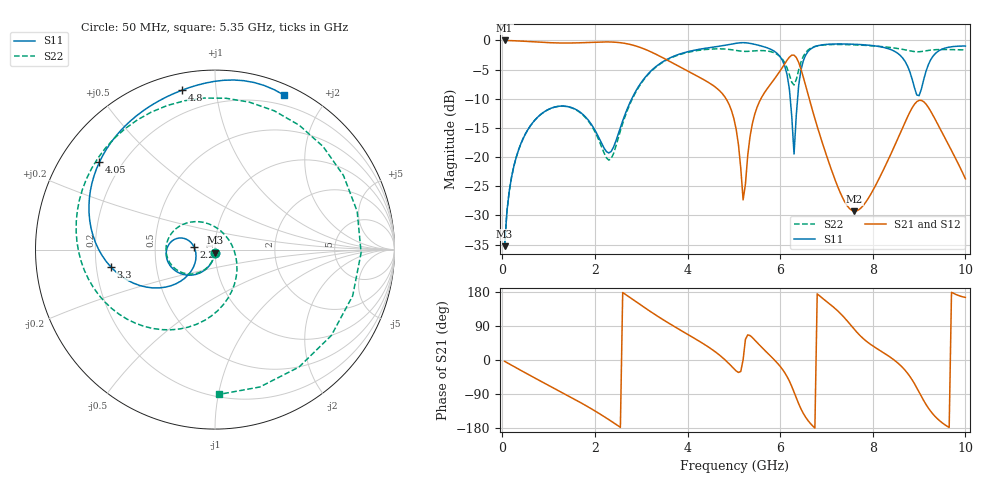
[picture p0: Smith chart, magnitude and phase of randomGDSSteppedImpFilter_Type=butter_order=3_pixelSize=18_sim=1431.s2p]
! freq	dB(S11)	phase(S11)	dB(S12)	phase(S12)
!  dB(S21)	phase(S21)	dB(S22)	phase(S22)
!S-par simulation data
#  GHz  S  DB  R 50
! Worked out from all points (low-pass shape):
!   200 points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, 50 MHz to 10 GHz, reference 50 ohm
!   highest |S21| = -0.01 dB at 50 MHz (marker M1); lowest = -29.3 dB at 7.6 GHz (marker M2)
!   |S21| within 3 dB of the highest: start of sweep to 3.475 GHz; 6.186 GHz to 6.354 GHz (168 MHz wide, 2.68 % of centre)
!   lowest |S11| = -35.3 dB at 50 MHz (marker M3), VSWR 1.04, Z = 49.9 - j1.72 ohm
!   |S11| at or under -10 dB: start of sweep to 2.796 GHz; 6.218 GHz to 6.377 GHz (159.1 MHz wide, 2.53 % of centre)
!   |S22| runs from -35.3 to -0.7 dB; largest |S21 - S12| = 0
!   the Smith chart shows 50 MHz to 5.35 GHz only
!   S11 on the Smith chart (normalised r, x): 50 MHz: 1.00, -0.03; 2.2 GHz: 0.79, +0.03; 3.3 GHz: 0.26, -0.08; 4.05 GHz: 0.12, +0.33; 4.8 GHz: 0.08, +0.81; 5.35 GHz: 0.10, +1.53
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0.05  -35.28 -92.6  -0.01 -3.5  -0.01 -3.5  -35.28 -92.8
0.55  -15.34 -126.8  -0.18 -37.4  -0.18 -37.4  -15.34 -128.8
1.75  -12.76 165.3  -0.39 -116.5  -0.39 -116.5  -12.85 142.1
2.2  -18.50 171.9  -0.26 -149.4  -0.26 -149.4  -19.34 71.4
3.3  -4.61 -170.6  -2.30 119.7  -2.30 119.7  -4.69 -132.9
3.4  -4.00 -177.1  -2.70 111.9  -2.70 111.9  -4.08 -141.7
4.05  -1.85 142.8  -5.45 64.3  -5.45 64.3  -1.97 164.2
4.8  -0.85 101.7  -9.62 1.5  -9.62 1.5  -1.48 76.9
5.05  -0.49 87.0  -15.23 -28.8  -15.23 -28.8  -1.72 15.0
5.2  -0.39 76.8  -27.34 0.5  -27.34 0.5  -1.88 -36.4
5.35  -0.51 66.1  -16.48 64.5  -16.48 64.5  -1.86 -88.5
5.7  -1.22 41.3  -8.51 21.6  -8.51 21.6  -1.80 -171.1
6.2  -8.38 -33.6  -2.86 -55.8  -2.86 -55.8  -5.91 127.7
6.3  -19.49 -136.1  -2.53 -84.7  -2.53 -84.7  -7.65 141.2
6.45  -5.04 100.5  -4.94 -129.1  -4.94 -129.1  -3.70 149.3
6.7  -1.26 53.3  -12.05 -173.7  -12.05 -173.7  -1.17 120.1
7.6  -0.66 -11.8  -29.27 81.2  -29.27 81.2  -0.76 40.9
8.35  -1.46 -61.5  -20.19 9.8  -20.19 9.8  -1.19 -25.9
8.85  -6.64 -147.9  -11.57 -52.4  -11.57 -52.4  -1.86 -71.2
9.1  -6.72 63.6  -10.51 -107.1  -10.51 -107.1  -1.84 -91.1
9.4  -1.92 -10.3  -14.32 -155.5  -14.32 -155.5  -1.58 -118.5
10  -0.96 -61.4  -23.73 165.1  -23.73 165.1  -1.63 -171.5
